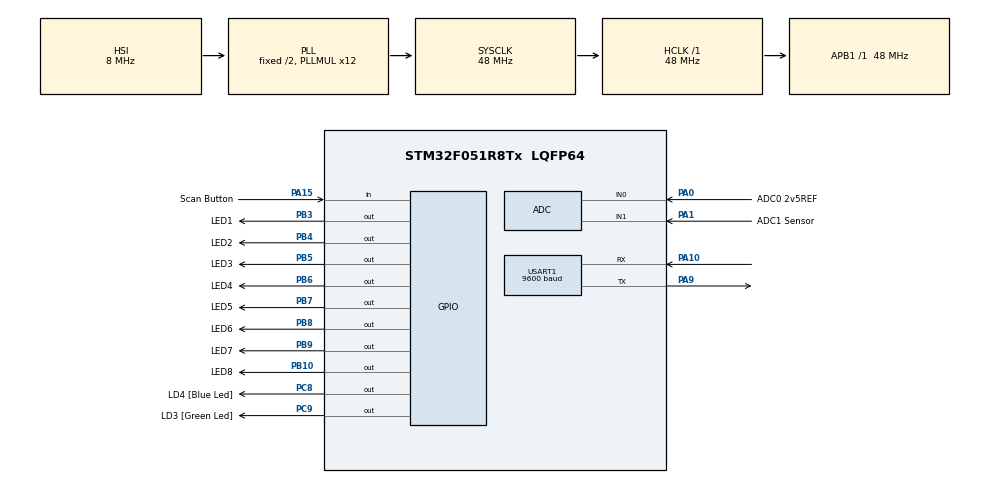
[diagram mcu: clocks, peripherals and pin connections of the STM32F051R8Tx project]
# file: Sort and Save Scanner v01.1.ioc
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ADC.ContinuousConvMode=DISABLE
ADC.DMAContinuousRequests=ENABLE
ADC.SamplingTime=ADC_SAMPLETIME_71CYCLES_5
Dma.ADC.0.Direction=DMA_PERIPH_TO_MEMORY
Dma.ADC.0.Instance=DMA1_Channel1
Dma.ADC.0.MemDataAlignment=DMA_MDATAALIGN_HALFWORD
Dma.ADC.0.MemInc=DMA_MINC_ENABLE
Dma.ADC.0.Mode=DMA_CIRCULAR
Dma.ADC.0.PeriphDataAlignment=DMA_PDATAALIGN_HALFWORD
Dma.ADC.0.PeriphInc=DMA_PINC_DISABLE
Dma.ADC.0.Priority=DMA_PRIORITY_LOW
Dma.Request0=ADC
Dma.Request1=USART1_TX
Dma.Request2=USART1_RX
Dma.USART1_RX.2.Direction=DMA_PERIPH_TO_MEMORY
Dma.USART1_RX.2.Instance=DMA1_Channel3
Dma.USART1_RX.2.MemDataAlignment=DMA_MDATAALIGN_BYTE
Dma.USART1_RX.2.MemInc=DMA_MINC_ENABLE
Dma.USART1_RX.2.Mode=DMA_NORMAL
Dma.USART1_RX.2.PeriphDataAlignment=DMA_PDATAALIGN_BYTE
Dma.USART1_RX.2.PeriphInc=DMA_PINC_DISABLE
Dma.USART1_RX.2.Priority=DMA_PRIORITY_LOW
Dma.USART1_TX.1.Direction=DMA_MEMORY_TO_PERIPH
Dma.USART1_TX.1.Instance=DMA1_Channel2
Dma.USART1_TX.1.MemDataAlignment=DMA_MDATAALIGN_BYTE
Dma.USART1_TX.1.MemInc=DMA_MINC_ENABLE
Dma.USART1_TX.1.Mode=DMA_NORMAL
Dma.USART1_TX.1.PeriphDataAlignment=DMA_PDATAALIGN_BYTE
Dma.USART1_TX.1.PeriphInc=DMA_PINC_DISABLE
Dma.USART1_TX.1.Priority=DMA_PRIORITY_LOW
Mcu.Family=STM32F0
Mcu.Name=STM32F051R8Tx
Mcu.Package=LQFP64
NVIC.DMA1_Channel1_IRQn=true\:0\:0\:false\:false\:true\:false\:true
NVIC.DMA1_Channel2_3_IRQn=true\:0\:0\:false\:false\:true\:false\:true
PA0.GPIO_Label=ADC0 2v5REF
PA0.Mode=IN0
PA0.Signal=ADC_IN0
PA1.GPIO_Label=ADC1 Sensor
PA1.Mode=IN1
PA1.Signal=ADC_IN1
PA10.Mode=Asynchronous
PA10.Signal=USART1_RX
PA13.GPIO_Label=SWDIO
PA13.Mode=Serial_Wire
PA13.Signal=SYS_SWDIO
PA14.GPIO_Label=SWCLK
PA14.Mode=Serial_Wire
PA14.Signal=SYS_SWCLK
PA15.GPIO_Label=Scan Button
PA15.GPIO_PuPd=GPIO_PULLDOWN
PA15.Signal=GPIO_Input
PA9.Mode=Asynchronous
PA9.Signal=USART1_TX
PB10.GPIO_Label=LED8
PB10.Signal=GPIO_Output
PB3.GPIO_Label=LED1
PB3.GPIO_ModeDefaultOutputPP=GPIO_MODE_OUTPUT_PP
PB3.GPIO_PuPd=GPIO_NOPULL
PB3.PinState=GPIO_PIN_RESET
PB3.Signal=GPIO_Output
PB4.GPIO_Label=LED2
PB4.Signal=GPIO_Output
PB5.GPIO_Label=LED3
PB5.Signal=GPIO_Output
PB6.GPIO_Label=LED4
PB6.Signal=GPIO_Output
PB7.GPIO_Label=LED5
PB7.Signal=GPIO_Output
PB8.GPIO_Label=LED6
PB8.Signal=GPIO_Output
PB9.GPIO_Label=LED7
PB9.Signal=GPIO_Output
PC8.GPIO_Label=LD4 [Blue Led]
PC8.Signal=GPIO_Output
PC9.GPIO_Label=LD3 [Green Led]
PC9.Signal=GPIO_Output
ProjectManager.HeapSize=0x200
ProjectManager.StackSize=0x400
ProjectManager.TargetToolchain=STM32CubeIDE
RCC.AHBFreq_Value=48000000
RCC.APB1Freq_Value=48000000
RCC.APB1TimFreq_Value=48000000
RCC.HCLKFreq_Value=48000000
RCC.PLLMUL=RCC_PLL_MUL12
RCC.SYSCLKFreq_VALUE=48000000
RCC.SYSCLKSource=RCC_SYSCLKSOURCE_PLLCLK
USART1.BaudRate=9600
USART1.VirtualMode-Asynchronous=VM_ASYNC
board=STM32F0DISCOVERY

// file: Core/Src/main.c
/* USER CODE BEGIN Header */
/**
  ******************************************************************************
  * @file           : main.c
  * @brief          : Main program body
  ******************************************************************************
  * @attention
  *
  * <h2><center>&copy; Copyright (c) 2020 STMicroelectronics.
  * All rights reserved.</center></h2>
  *
  * This software component is licensed by ST under BSD 3-Clause license,
  * the "License"; You may not use this file except in compliance with the
  * License. You may obtain a copy of the License at:
  *                        opensource.org/licenses/BSD-3-Clause
  *
  ******************************************************************************
  */
/* USER CODE END Header */
#include "main.h"

/* USER CODE BEGIN Includes */

#include <string.h>
#include <stdlib.h>
#include <stdio.h>

#include "retarget.h"

/* USER CODE END Includes */

ADC_HandleTypeDef hadc;
DMA_HandleTypeDef hdma_adc;

UART_HandleTypeDef huart1;
DMA_HandleTypeDef hdma_usart1_tx;
DMA_HandleTypeDef hdma_usart1_rx;

/* USER CODE BEGIN PV */
double corrected_measure[8], difference[3][8];
const char *wavelengths[8] = {"400nm-700nm", "850nm", "950nm", "1050nm", "1200nm", "1300nm", "1450nm", "1650nm"};
volatile uint8_t toggle = 0;
char str[8];

uint8_t tx_buffer[10];

uint16_t wavelength_correction[8] = {0,0,0,0,0,0,0,0};
uint16_t adc_buffer[2], measurementADC0[3][8], measurementADC1[3][8];			//measurementADCx[3][j] keeps corrected values
uint16_t LED_OUT[8] = {LED1_Pin,LED2_Pin,LED3_Pin,LED4_Pin,LED5_Pin,LED6_Pin,LED7_Pin,LED8_Pin};

/* USER CODE END PV */

void SystemClock_Config(void);
static void MX_GPIO_Init(void);
static void MX_DMA_Init(void);
static void MX_ADC_Init(void);
static void MX_USART1_UART_Init(void);

/* USER CODE BEGIN 0 */

void measureTextile(void);

/* USER CODE END 0 */

int main(void)
{

  /* MCU Configuration--------------------------------------------------------*/

  /* Reset of all peripherals, Initializes the Flash interface and the Systick. */
  HAL_Init();

  /* Configure the system clock */
  SystemClock_Config();

  /* Initialize all configured peripherals */
  MX_GPIO_Init();
  MX_DMA_Init();
  MX_ADC_Init();
  MX_USART1_UART_Init();

  /* Infinite loop */
  /* USER CODE BEGIN WHILE */
  while (1)
  {
	//Wait for button press to start measurement
	if(HAL_GPIO_ReadPin(Scan_Button_GPIO_Port, Scan_Button_Pin) == GPIO_PIN_SET){
		measureTextile();

		HAL_Delay(1);

		char buf[100];

		printf("\r\nYour name: ");
		scanf("%s", buf);
		printf("\r\nHello, %s!\r\n", buf);

		/*if (measurementADC1[0][0] != 0){
			uint16_t k;

			//tx_buffer[i] = sprintf(str, "%u", difference[1][i]);

			for(int i = 0; i < 8; i++){
				sprintf(str, "%u", difference[1][i]);
				for(int j = 0; j < 4; j++){
					tx_buffer[i] = str[i];
				}
				tx_buffer[4] = '\r';
				tx_buffer[5] = '\n';

				k=0;
				while(k++<6){
					HAL_UART_Transmit_DMA(&huart1, tx_buffer, 6);
				}
			}
		}*/
	}
    /* USER CODE END WHILE */

    /* USER CODE BEGIN 3 */

	 /* while(1)
	  {
	    //HAL_UART_Transmit_DMA(&huart1, (uint8_t *)str, 10);
	    HAL_UART_Transmit_DMA(&huart1, tx_buffer, 6);
	  }*/
  }
  /* USER CODE END 3 */
}

void SystemClock_Config(void)
{
  RCC_OscInitTypeDef RCC_OscInitStruct = {0};
  RCC_ClkInitTypeDef RCC_ClkInitStruct = {0};
  RCC_PeriphCLKInitTypeDef PeriphClkInit = {0};

  /** Initializes the RCC Oscillators according to the specified parameters
  * in the RCC_OscInitTypeDef structure.
  */
  RCC_OscInitStruct.OscillatorType = RCC_OSCILLATORTYPE_HSI|RCC_OSCILLATORTYPE_HSI14;
  RCC_OscInitStruct.HSIState = RCC_HSI_ON;
  RCC_OscInitStruct.HSI14State = RCC_HSI14_ON;
  RCC_OscInitStruct.HSICalibrationValue = RCC_HSICALIBRATION_DEFAULT;
  RCC_OscInitStruct.HSI14CalibrationValue = 16;
  RCC_OscInitStruct.PLL.PLLState = RCC_PLL_ON;
  RCC_OscInitStruct.PLL.PLLSource = RCC_PLLSOURCE_HSI;
  RCC_OscInitStruct.PLL.PLLMUL = RCC_PLL_MUL12;
  RCC_OscInitStruct.PLL.PREDIV = RCC_PREDIV_DIV1;
  if (HAL_RCC_OscConfig(&RCC_OscInitStruct) != HAL_OK)
  {
    Error_Handler();
  }
  /** Initializes the CPU, AHB and APB buses clocks
  */
  RCC_ClkInitStruct.ClockType = RCC_CLOCKTYPE_HCLK|RCC_CLOCKTYPE_SYSCLK
                              |RCC_CLOCKTYPE_PCLK1;
  RCC_ClkInitStruct.SYSCLKSource = RCC_SYSCLKSOURCE_PLLCLK;
  RCC_ClkInitStruct.AHBCLKDivider = RCC_SYSCLK_DIV1;
  RCC_ClkInitStruct.APB1CLKDivider = RCC_HCLK_DIV1;

  if (HAL_RCC_ClockConfig(&RCC_ClkInitStruct, FLASH_LATENCY_1) != HAL_OK)
  {
    Error_Handler();
  }
  PeriphClkInit.PeriphClockSelection = RCC_PERIPHCLK_USART1;
  PeriphClkInit.Usart1ClockSelection = RCC_USART1CLKSOURCE_PCLK1;
  if (HAL_RCCEx_PeriphCLKConfig(&PeriphClkInit) != HAL_OK)
  {
    Error_Handler();
  }
}

static void MX_ADC_Init(void)
{

  ADC_ChannelConfTypeDef sConfig = {0};

  /** Configure the global features of the ADC (Clock, Resolution, Data Alignment and number of conversion)
  */
  hadc.Instance = ADC1;
  hadc.Init.ClockPrescaler = ADC_CLOCK_ASYNC_DIV1;
  hadc.Init.Resolution = ADC_RESOLUTION_12B;
  hadc.Init.DataAlign = ADC_DATAALIGN_RIGHT;
  hadc.Init.ScanConvMode = ADC_SCAN_DIRECTION_FORWARD;
  hadc.Init.EOCSelection = ADC_EOC_SINGLE_CONV;
  hadc.Init.LowPowerAutoWait = DISABLE;
  hadc.Init.LowPowerAutoPowerOff = DISABLE;
  hadc.Init.ContinuousConvMode = DISABLE;
  hadc.Init.DiscontinuousConvMode = DISABLE;
  hadc.Init.ExternalTrigConv = ADC_SOFTWARE_START;
  hadc.Init.ExternalTrigConvEdge = ADC_EXTERNALTRIGCONVEDGE_NONE;
  hadc.Init.DMAContinuousRequests = ENABLE;
  hadc.Init.Overrun = ADC_OVR_DATA_PRESERVED;
  if (HAL_ADC_Init(&hadc) != HAL_OK)
  {
    Error_Handler();
  }
  /** Configure for the selected ADC regular channel to be converted.
  */
  sConfig.Channel = ADC_CHANNEL_0;
  sConfig.Rank = ADC_RANK_CHANNEL_NUMBER;
  sConfig.SamplingTime = ADC_SAMPLETIME_71CYCLES_5;
  if (HAL_ADC_ConfigChannel(&hadc, &sConfig) != HAL_OK)
  {
    Error_Handler();
  }
  /** Configure for the selected ADC regular channel to be converted.
  */
  sConfig.Channel = ADC_CHANNEL_1;
  if (HAL_ADC_ConfigChannel(&hadc, &sConfig) != HAL_OK)
  {
    Error_Handler();
  }

}

static void MX_USART1_UART_Init(void)
{

  huart1.Instance = USART1;
  huart1.Init.BaudRate = 9600;
  huart1.Init.WordLength = UART_WORDLENGTH_8B;
  huart1.Init.StopBits = UART_STOPBITS_1;
  huart1.Init.Parity = UART_PARITY_NONE;
  huart1.Init.Mode = UART_MODE_TX_RX;
  huart1.Init.HwFlowCtl = UART_HWCONTROL_NONE;
  huart1.Init.OverSampling = UART_OVERSAMPLING_16;
  huart1.Init.OneBitSampling = UART_ONE_BIT_SAMPLE_DISABLE;
  huart1.AdvancedInit.AdvFeatureInit = UART_ADVFEATURE_NO_INIT;
  if (HAL_UART_Init(&huart1) != HAL_OK)
  {
    Error_Handler();
  }

}

static void MX_DMA_Init(void)
{

  /* DMA controller clock enable */
  __HAL_RCC_DMA1_CLK_ENABLE();

  /* DMA interrupt init */
  /* DMA1_Channel1_IRQn interrupt configuration */
  HAL_NVIC_SetPriority(DMA1_Channel1_IRQn, 0, 0);
  HAL_NVIC_EnableIRQ(DMA1_Channel1_IRQn);
  /* DMA1_Channel2_3_IRQn interrupt configuration */
  HAL_NVIC_SetPriority(DMA1_Channel2_3_IRQn, 0, 0);
  HAL_NVIC_EnableIRQ(DMA1_Channel2_3_IRQn);

}

static void MX_GPIO_Init(void)
{
  GPIO_InitTypeDef GPIO_InitStruct = {0};

  /* GPIO Ports Clock Enable */
  __HAL_RCC_GPIOA_CLK_ENABLE();
  __HAL_RCC_GPIOB_CLK_ENABLE();
  __HAL_RCC_GPIOC_CLK_ENABLE();

  /*Configure GPIO pin Output Level */
  HAL_GPIO_WritePin(GPIOB, LED8_Pin|LED1_Pin|LED2_Pin|LED3_Pin
                          |LED4_Pin|LED5_Pin|LED6_Pin|LED7_Pin, GPIO_PIN_RESET);

  /*Configure GPIO pin Output Level */
  HAL_GPIO_WritePin(GPIOC, LD4_Pin|LD3_Pin, GPIO_PIN_RESET);

  /*Configure GPIO pins : LED8_Pin LED1_Pin LED2_Pin LED3_Pin
                           LED4_Pin LED5_Pin LED6_Pin LED7_Pin */
  GPIO_InitStruct.Pin = LED8_Pin|LED1_Pin|LED2_Pin|LED3_Pin
                          |LED4_Pin|LED5_Pin|LED6_Pin|LED7_Pin;
  GPIO_InitStruct.Mode = GPIO_MODE_OUTPUT_PP;
  GPIO_InitStruct.Pull = GPIO_NOPULL;
  GPIO_InitStruct.Speed = GPIO_SPEED_FREQ_LOW;
  HAL_GPIO_Init(GPIOB, &GPIO_InitStruct);

  /*Configure GPIO pins : LD4_Pin LD3_Pin */
  GPIO_InitStruct.Pin = LD4_Pin|LD3_Pin;
  GPIO_InitStruct.Mode = GPIO_MODE_OUTPUT_PP;
  GPIO_InitStruct.Pull = GPIO_NOPULL;
  GPIO_InitStruct.Speed = GPIO_SPEED_FREQ_LOW;
  HAL_GPIO_Init(GPIOC, &GPIO_InitStruct);

  /*Configure GPIO pin : Scan_Button_Pin */
  GPIO_InitStruct.Pin = Scan_Button_Pin;
  GPIO_InitStruct.Mode = GPIO_MODE_INPUT;
  GPIO_InitStruct.Pull = GPIO_PULLDOWN;
  HAL_GPIO_Init(Scan_Button_GPIO_Port, &GPIO_InitStruct);

}

/* USER CODE BEGIN 4 */

void measureTextile(void){

	//Scan the material 3 times, 2 controls and 1 measurement
	for(int i=0; i<3; i++){

		//Turns on each LED and reads the ADC measurement
		//Then outputs data to Jetson TX2
		for(int j=0; j<8; j++){

			//counter used to move through the DMA buffer
			int k = 0;

			//Check if going through control or measurement section
			if(i==1){
				HAL_GPIO_WritePin(GPIOB, LED_OUT[j], GPIO_PIN_SET);
				//Turn on LED to signify each LED OUT
				HAL_GPIO_WritePin(GPIOC, LD4_Pin, GPIO_PIN_SET);
			}
			else{
				HAL_GPIO_WritePin(GPIOB, LED_OUT[j], GPIO_PIN_RESET);
			}

			//Start the ADC to DMA
			HAL_ADC_Start_DMA(&hadc, (uint32_t*)adc_buffer, 2);

			//Turn on LED to signify ADC Read
			//HAL_GPIO_WritePin(GPIOC, LD3_Pin, GPIO_PIN_SET);
			HAL_Delay(1);

			//Poll ADC Channel 0
			measurementADC0[i][j] = 0;
			measurementADC0[i][j] = adc_buffer[k];

			//Turn off LED to signify ADC Read complete
			//HAL_GPIO_WritePin(GPIOC, LD3_Pin, GPIO_PIN_RESET);
			HAL_Delay(1);

			//Move to DMA second reading
			k++;

			//Turn on LED to signify ADC Read
			//HAL_GPIO_WritePin(GPIOC, LD3_Pin, GPIO_PIN_SET);
			//HAL_Delay(25);

			//Poll ADC Channel 1
			measurementADC1[i][j] = 0;
			measurementADC1[i][j] = adc_buffer[k];

			HAL_ADC_Stop_DMA(&hadc);

			HAL_GPIO_WritePin(GPIOB, LED_OUT[j], GPIO_PIN_RESET);
			//Turn off LED to signify ADC Read complete
			//HAL_GPIO_WritePin(GPIOC, LD3_Pin, GPIO_PIN_RESET);
			//Turn off LED to signify each LED OUT
			HAL_GPIO_WritePin(GPIOC, LD4_Pin, GPIO_PIN_RESET);
			HAL_Delay(1);
		}
	}

	// This is my fiddling with different pre-processing techniques we can use
	for (int i=0; i<8; i++){

		//for(int j=0; j<8; j++){
			//HAL_UART_Transmit_DMA(&huart1, measurementADC0[i][j], 8);
		//}

		//Correct the values by subtracting the control scans
		difference[0][i] = (double)measurementADC1[0][i] - (double)measurementADC0[0][i];
		difference[1][i] = (double)measurementADC1[1][i] - (double)measurementADC0[1][i];
		difference[2][i] = (double)measurementADC1[2][i] - (double)measurementADC0[2][i];

		//calculate the % difference in ADC0 and ADC1
		//corrected_measure[j] = difference[1][j] - ((difference[0][j] + difference[2][j])/2) - wavelength_correction[j];
	}

	HAL_Delay(1);
}

void DMA1_Stream6_IRQHandler(void)
{
  HAL_DMA_IRQHandler(&hdma_usart1_tx);
}

void USART2_IRQHandler(void)
{
  HAL_UART_IRQHandler(&huart1);
}

void HAL_UART_TxCpltCallback(UART_HandleTypeDef *huart)
{
  uint16_t i;
  toggle = !toggle;

  for(i = 3; i < 6; i++)
  {
    if(toggle)
      tx_buffer[i] = '&';
    else
      tx_buffer[i] = 'z';
  }

  tx_buffer[8] = '\r';
  tx_buffer[9] = '\n';
}

void HAL_UART_TxHalfCpltCallback(UART_HandleTypeDef *huart)
{
  uint16_t i;

  for(i = 0; i < 3; i++)
  {
    if(toggle)
      tx_buffer[i] = 'y';
    else
      tx_buffer[i] = '|';
  }
}

/* USER CODE END 4 */

void Error_Handler(void)
{
}

/************************ (C) COPYRIGHT STMicroelectronics *****END OF FILE****/
